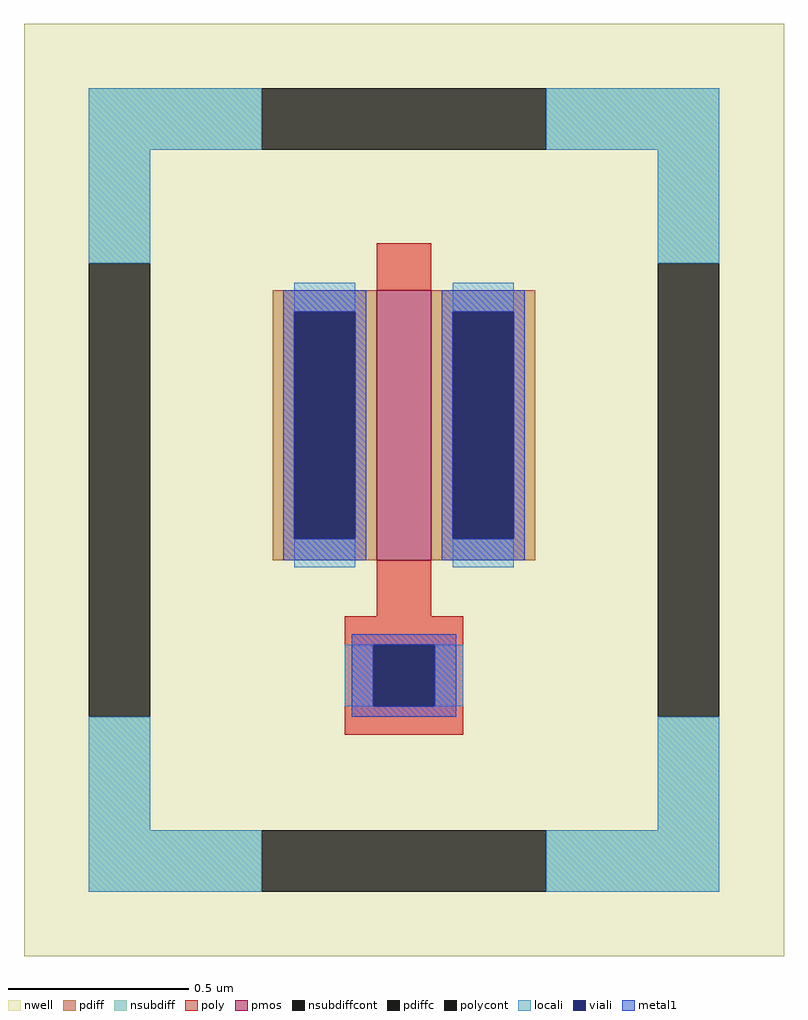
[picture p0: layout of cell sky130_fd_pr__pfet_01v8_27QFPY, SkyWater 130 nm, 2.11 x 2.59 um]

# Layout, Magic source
magic
tech sky130A
magscale 1 2
<< nwell >>
rect -211 -259 211 259
<< pmos >>
rect -15 -39 15 111
<< pdiff >>
rect -73 99 -15 111
rect -73 -27 -61 99
rect -27 -27 -15 99
rect -73 -39 -15 -27
rect 15 99 73 111
rect 15 -27 27 99
rect 61 -27 73 99
rect 15 -39 73 -27
<< pdiffc >>
rect -61 -27 -27 99
rect 27 -27 61 99
<< nsubdiff >>
rect -175 189 -79 223
rect 79 189 175 223
rect -175 126 -141 189
rect 141 126 175 189
rect -175 -189 -141 -126
rect 141 -189 175 -126
rect -175 -223 -79 -189
rect 79 -223 175 -189
<< nsubdiffcont >>
rect -79 189 79 223
rect -175 -126 -141 126
rect 141 -126 175 126
rect -79 -223 79 -189
<< poly >>
rect -15 111 15 137
rect -15 -70 15 -39
rect -33 -86 33 -70
rect -33 -120 -17 -86
rect 17 -120 33 -86
rect -33 -136 33 -120
<< polycont >>
rect -17 -120 17 -86
<< locali >>
rect -175 189 -79 223
rect 79 189 175 223
rect -175 126 -141 189
rect 141 126 175 189
rect -61 99 -27 115
rect -61 -43 -27 -27
rect 27 99 61 115
rect 27 -43 61 -27
rect -33 -120 -17 -86
rect 17 -120 33 -86
rect -175 -189 -141 -126
rect 141 -189 175 -126
rect -175 -223 -79 -189
rect 79 -223 175 -189
<< viali >>
rect -61 -27 -27 99
rect 27 -27 61 99
rect -17 -120 17 -86
<< metal1 >>
rect -67 99 -21 111
rect -67 -27 -61 99
rect -27 -27 -21 99
rect -67 -39 -21 -27
rect 21 99 67 111
rect 21 -27 27 99
rect 61 -27 67 99
rect 21 -39 67 -27
rect -29 -86 29 -80
rect -29 -120 -17 -86
rect 17 -120 29 -86
rect -29 -126 29 -120
<< properties >>
string FIXED_BBOX -158 -206 158 206
string gencell sky130_fd_pr__pfet_01v8
string library sky130
string parameters w 0.75 l 0.15 m 1 nf 1 diffcov 100 polycov 100 guard 1 glc 1 grc 1 gtc 1 gbc 1 tbcov 100 rlcov 100 topc 0 botc 1 poverlap 0 doverlap 1 lmin 0.15 wmin 0.42 compatible {sky130_fd_pr__pfet_01v8  sky130_fd_pr__pfet_01v8_lvt sky130_fd_pr__pfet_01v8_hvt  sky130_fd_pr__pfet_g5v0d10v5} full_metal 1 viasrc 100 viadrn 100 viagate 100 viagb 0 viagr 0 viagl 0 viagt 0
<< end >>
